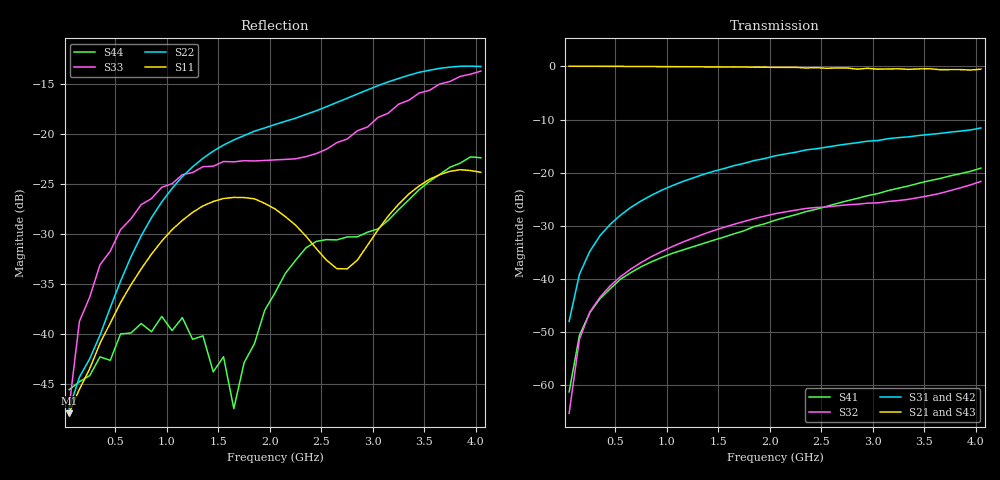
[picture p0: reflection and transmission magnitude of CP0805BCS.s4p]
! Network Analyzer HP8720D.07.14 Serial No. US38111185
! 28 Apr 1999  02:06:29
! Frequency 	S11		S21		S31		S41		S12		S22		S23		S24		S13		S23		S33		S34		S14		S24		S34		S44
# HZ  S  DB R 50
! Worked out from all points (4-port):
!   41 points, 50 MHz to 4.05 GHz, reference 50 ohm
!   strongest paths, dB at 50 MHz, 1.05 GHz, 2.05 GHz, 3.05 GHz, 4.05 GHz:
!     S21: 0.0, -0.1, -0.2, -0.5, -0.5
!     S43: 0.0, -0.1, -0.3, -0.8, -0.9
!     S31: -48.0, -22.5, -16.8, -13.9, -11.6
!     S42: -48.8, -22.7, -16.9, -13.9, -11.8
!     S32: -65.3, -33.9, -27.7, -25.7, -21.7
!     S41: -61.3, -35.2, -29.0, -23.9, -19.1
!   lowest |S11| = -48.0 dB at 50 MHz (marker M1), VSWR 1.01, Z = 50.4 - j0.0695 ohm
!   |S11| at or under -10 dB: start of sweep to end of sweep
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5e7  -47.96 -9.9  0.01 -0.8  -48.47 68.0  -62.68 119.9
     0.04 -0.7  -47.53 18.4  -64.61 49.0  -47.61 78.9
     -48.00 95.9  -65.29 117.5  -47.37 28.4  0.01 -1.0
     -61.27 64.6  -48.85 109.2  0.03 -0.8  -45.59 -4.5
1.5e8  -45.55 -48.2  0.03 -2.0  -39.31 87.2  -50.92 82.2
       0.02 -2.1  -44.34 39.4  -50.43 89.0  -39.59 87.2
       -39.13 86.8  -51.42 85.9  -38.76 56.6  0.02 -2.5
       -50.61 89.6  -39.37 87.0  0.02 -2.6  -44.80 25.6
2.5e8  -43.49 -80.3  0.02 -3.4  -34.79 86.2  -46.59 85.6
       0.02 -3.6  -42.50 59.8  -46.31 87.7  -35.07 86.0
       -34.84 85.8  -46.27 87.5  -36.32 56.6  0.01 -4.1
       -46.39 83.8  -35.08 86.1  0.00 -4.3  -44.18 9.3
8.5e8  -32.02 -178.5  -0.03 -11.6  -24.25 76.7  -36.77 77.7
       -0.03 -11.7  -28.36 89.0  -35.83 81.5  -24.54 77.2
       -24.25 76.6  -35.80 81.3  -26.46 46.9  -0.07 -14.0
       -36.77 77.5  -24.52 77.1  -0.05 -14.2  -39.79 13.6
1.65e9  -26.33 123.2  -0.11 -22.3  -18.65 64.9  -31.45 77.9
        -0.11 -22.3  -20.58 51.4  -29.66 73.1  -18.97 66.0
        -18.69 65.6  -29.73 73.3  -22.77 22.2  -0.21 -27.0
        -31.52 78.6  -18.84 66.3  -0.17 -27.0  -47.49 -72.5
2.35e9  -30.21 79.8  -0.24 -31.8  -15.74 54.3  -27.35 74.7
        -0.30 -31.7  -18.02 4.4  -26.67 61.2  -16.07 56.3
        -15.72 55.5  -26.74 61.8  -22.25 0.6  -0.44 -37.9
        -27.34 75.6  -15.81 55.3  -0.47 -38.4  -31.39 -178.1
4.05e9  -23.82 -86.0  -0.56 -56.1  -11.21 31.0  -19.14 47.7
        -0.53 -53.2  -13.22 -81.0  -21.46 57.1  -11.72 35.9
        -11.59 34.8  -21.65 61.5  -13.68 -53.7  -0.84 -65.6
        -19.14 53.3  -11.76 33.6  -0.89 -61.7  -22.36 -2.5
